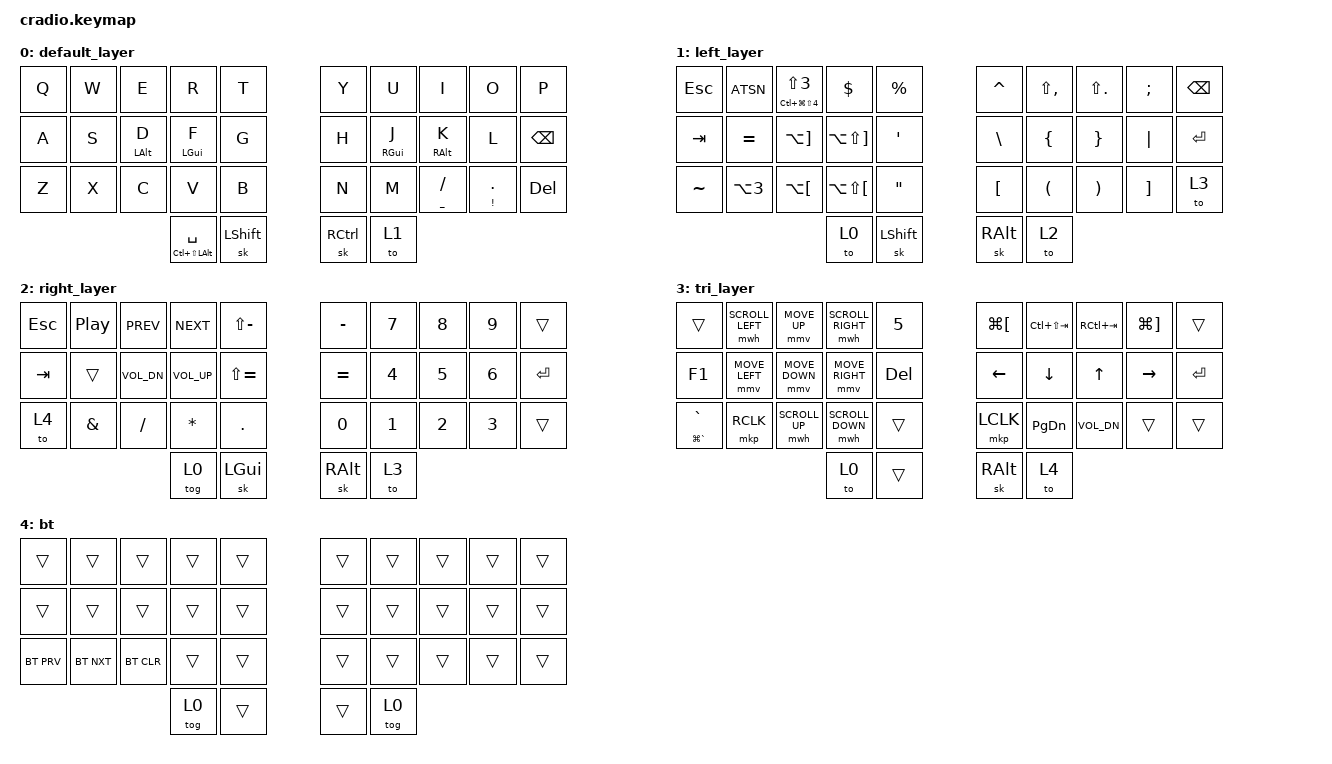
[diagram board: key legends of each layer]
/*
 * Copyright (c) 2020 The ZMK Contributors
 *
 * SPDX-License-Identifier: MIT
 */

#include <dt-bindings/zmk/mouse.h>
#include <behaviors.dtsi>
#include <dt-bindings/zmk/bt.h>
#include <dt-bindings/zmk/keys.h>
#include <dt-bindings/zmk/pointing.h>
#include <dt-bindings/zmk/pointing.h>

&mt {
    flavor = "tap-preferred";
    tapping_term_ms = <200>;
};

&mmv {
    time-to-max-speed-ms = <680>;
    acceleration-exponent = <2>;
};

/ {
    behaviors {
        hm: homerow_mods {
            compatible = "zmk,behavior-hold-tap";
            label = "HOMEROW_MODS";
            #binding-cells = <2>;
            tapping-term-ms = <200>;
            quick_tap_ms = <0>;
            flavor = "tap-preferred";
            bindings = <&kp>, <&kp>;
        };

        td: tapdance {
            compatible = "zmk,behavior-hold-tap";
            label = "TAPDANCE";
            #binding-cells = <2>;
            tapping-term-ms = <150>;
            quick_tap_ms = <0>;
            flavor = "tap-preferred";
            bindings = <&kp>, <&kp>;
        };
    };

    keymap {
        compatible = "zmk,keymap";

        default_layer {
            bindings = <
&kp Q  &kp W  &kp E       &kp R                   &kp T         &kp Y      &kp U       &kp I                 &kp O         &kp P
&kp A  &kp S  &hm LALT D  &hm LGUI F              &kp G         &kp H      &hm RGUI J  &hm RALT K            &kp L         &kp BACKSPACE
&kp Z  &kp X  &kp C       &kp V                   &kp B         &kp N      &kp M       &td UNDERSCORE SLASH  &td EXCL DOT  &kp DEL
                          &mt LC(LS(LALT)) SPACE  &sk LSHIFT    &sk RCTRL  &to 1
            >;
        };

        left_layer {
            bindings = <
&kp ESC    &kp ATSN    &td LC(LG(LS(N4))) LS(N3)  &kp DLLR          &kp PRCNT     &kp CARET  &kp LS(COMMA)  &kp LS(DOT)  &kp SEMI  &kp BKSP
&kp TAB    &kp EQUAL   &kp LA(RBKT)               &kp LA(LS(RBKT))  &kp SQT       &kp BSLH   &kp LBRC       &kp RBRC     &kp PIPE  &kp ENTER
&kp TILDE  &kp LA(N3)  &kp LA(LBKT)               &kp LA(LS(LBKT))  &kp DQT       &kp LBKT   &kp LPRN       &kp RPRN     &kp RBKT  &to 3
                                                  &to 0             &sk LSHIFT    &sk RALT   &to 2
            >;
        };

        right_layer {
            bindings = <
&kp ESC  &kp C_PP  &kp C_PREV    &kp C_NEXT    &kp LS(MINUS)    &kp MINUS  &kp N7  &kp N8  &kp N9  &trans
&kp TAB  &trans    &kp C_VOL_DN  &kp C_VOL_UP  &kp LS(EQUAL)    &kp EQUAL  &kp N4  &kp N5  &kp N6  &kp ENTER
&to 4    &kp AMPS  &kp SLASH     &kp STAR      &kp DOT          &kp N0     &kp N1  &kp N2  &kp N3  &trans
                                 &tog 0        &sk LGUI         &sk RALT   &to 3
            >;
        };

        tri_layer {
            bindings = <
&trans               &mwh SCROLL_LEFT  &mmv MOVE_UP    &mwh SCROLL_RIGHT  &kp NUM_5    &kp LG(LBKT)  &kp LC(LS(TAB))  &kp RC(TAB)   &kp LG(RBKT)  &trans
&kp F1               &mmv MOVE_LEFT    &mmv MOVE_DOWN  &mmv MOVE_RIGHT    &kp DEL      &kp LEFT      &kp DOWN         &kp UP        &kp RIGHT     &kp ENTER
&td LG(GRAVE) GRAVE  &mkp RCLK         &mwh SCROLL_UP  &mwh SCROLL_DOWN   &trans       &mkp LCLK     &kp PG_DN        &kp K_VOL_DN  &trans        &trans
                                                       &to 0              &trans       &sk RALT      &to 4
            >;
        };

        bt {
            bindings = <
&trans      &trans      &trans      &trans  &trans    &trans  &trans  &trans  &trans  &trans
&trans      &trans      &trans      &trans  &trans    &trans  &trans  &trans  &trans  &trans
&bt BT_PRV  &bt BT_NXT  &bt BT_CLR  &trans  &trans    &trans  &trans  &trans  &trans  &trans
                                    &tog 0  &trans    &trans  &tog 0
            >;
        };
    };
};
